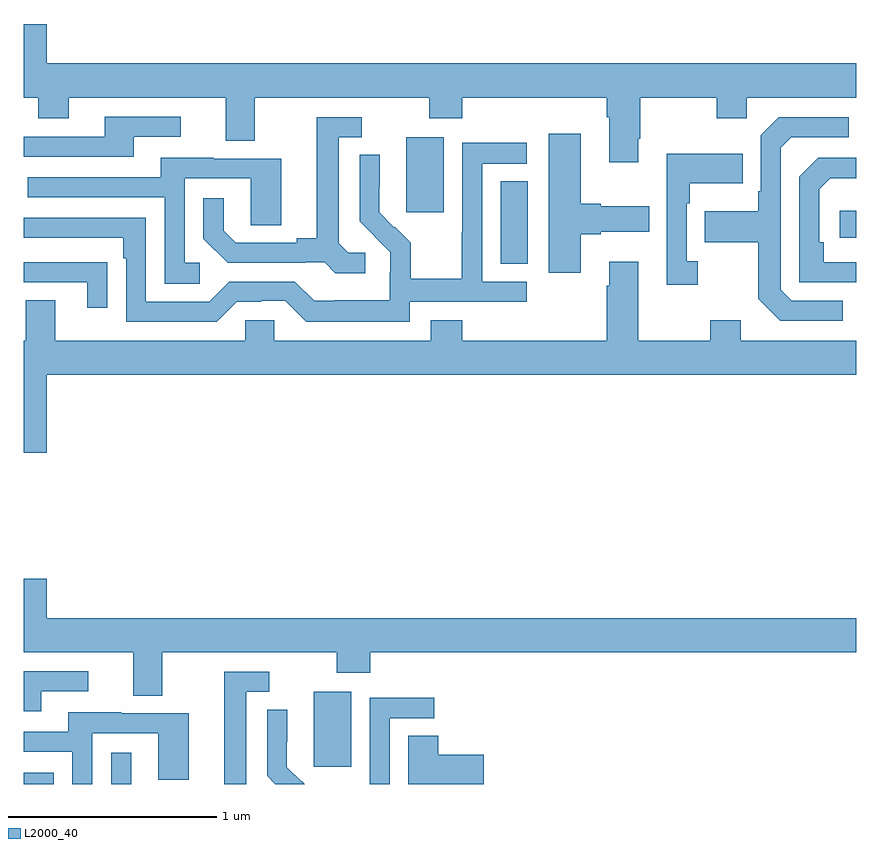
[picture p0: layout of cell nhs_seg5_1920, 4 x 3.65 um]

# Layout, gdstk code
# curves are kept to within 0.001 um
import gdstk
lib = gdstk.Library(unit=1e-6, precision=1e-09)
def R(c, l, rs):  # rectangles x0, y0, x1, y1
    for r in rs: c.add(gdstk.rectangle(r[:2], r[2:], *l))
def P(c, l, *ps):  # polygons
    for p in ps: c.add(gdstk.Polygon(p, *l))
L2000_40 = (2000, 40)

nhs_seg5_1920 = lib.new_cell('nhs_seg5_1920')
R(nhs_seg5_1920, L2000_40, [(225,850.799,225.144,850.854), (225.42,850.799,225.517,850.948), (226.394,850.881,226.573,851.242), (227.291,853.297,227.422,853.694), (228.921,853.422,229,853.552), (226.838,853.545,227.017,853.906)])
P(nhs_seg5_1920, L2000_40, [(227.953,853.897),(227.961,853.897),(227.961,854.096),(228.328,854.096),(228.328,853.997),(228.474,853.997),(228.474,854.096),(229,854.096),(229,854.26),(225.112,854.26),(225.112,854.449),(225,854.449),(225,854.096),(225.07,854.096),(225.07,853.997),(225.217,853.997),(225.217,854.096),(225.971,854.096),(225.971,853.888),(226.111,853.888),(226.111,854.096),(226.948,854.096),(226.948,853.997),(227.108,853.997),(227.108,854.096),(227.801,854.096),(227.801,854),(227.813,854),(227.813,853.785),(227.953,853.785)],
  [(225.529,853.908),(225.754,853.908),(225.754,854.004),(225.389,854.004),(225.389,853.908),(225,853.908),(225,853.812),(225.529,853.812)],
  [(228.934,853.119),(228.69,853.119),(228.636,853.173),(228.636,853.854),(228.687,853.905),(228.964,853.905),(228.964,854.001),(228.627,854.001),(228.54,853.914),(228.54,853.645),(228.528,853.645),(228.528,853.549),(228.271,853.549),(228.271,853.402),(228.528,853.402),(228.528,853.129),(228.633,853.023),(228.934,853.023)],
  [(226.642,853.35),(226.56,853.35),(226.513,853.397),(226.513,853.905),(226.624,853.905),(226.624,854.001),(226.409,854.001),(226.409,853.421),(226.313,853.421),(226.313,853.398),(226.018,853.398),(225.961,853.455),(225.961,853.612),(225.864,853.612),(225.864,853.418),(225.98,853.302),(226.352,853.302),(226.352,853.305),(226.446,853.305),(226.498,853.253),(226.642,853.253)],
  [(227.677,853.439),(227.773,853.439),(227.773,853.451),(228.004,853.451),(228.004,853.573),(227.773,853.573),(227.773,853.586),(227.677,853.586),(227.677,853.921),(227.522,853.921),(227.522,853.254),(227.677,853.254)],
  [(226.854,853.116),(227.416,853.116),(227.416,853.212),(227.202,853.212),(227.202,853.779),(227.416,853.779),(227.416,853.878),(227.106,853.878),(227.106,853.448),(227.104,853.448),(227.104,853.225),(226.859,853.225),(226.859,853.399),(226.782,853.476),(226.779,853.473),(226.709,853.544),(226.71,853.82),(226.614,853.82),(226.614,853.502),(226.76,853.354),(226.76,853.257),(226.758,853.257),(226.758,853.123),(226.495,853.123),(226.495,853.119),(226.395,853.119),(226.302,853.212),(225.987,853.212),(225.891,853.116),(225.588,853.116),(225.588,853.518),(225,853.518),(225,853.422),(225.479,853.422),(225.479,853.325),(225.492,853.325),(225.492,853.02),(225.927,853.02),(226.023,853.116),(226.142,853.116),(226.142,853.119),(226.257,853.119),(226.357,853.019),(226.854,853.019)],
  [(228.238,853.31),(228.186,853.31),(228.186,853.589),(228.199,853.589),(228.199,853.685),(228.455,853.685),(228.455,853.825),(228.09,853.825),(228.09,853.197),(228.238,853.197)],
  [(225.847,853.302),(225.774,853.302),(225.774,853.707),(226.092,853.707),(226.092,853.483),(226.237,853.483),(226.237,853.803),(225.913,853.803),(225.913,853.807),(225.659,853.807),(225.659,853.713),(225.019,853.713),(225.019,853.617),(225.678,853.617),(225.678,853.201),(225.847,853.201)],
  [(229,853.305),(228.842,853.305),(228.842,853.402),(228.822,853.402),(228.822,853.656),(228.875,853.709),(229,853.709),(229,853.806),(228.816,853.806),(228.726,853.716),(228.726,853.209),(229,853.209)],
  [(229,852.928),(228.445,852.928),(228.445,853.027),(228.298,853.027),(228.298,852.928),(227.953,852.928),(227.953,853.306),(227.813,853.306),(227.813,853.193),(227.801,853.193),(227.801,852.928),(227.108,852.928),(227.108,853.027),(226.955,853.027),(226.955,852.928),(226.203,852.928),(226.203,853.026),(226.065,853.026),(226.065,852.928),(225.151,852.928),(225.151,853.123),(225.011,853.123),(225.011,852.928),(225,852.928),(225,852.39),(225.112,852.39),(225.112,852.764),(229,852.764)],
  [(225.401,853.304),(225.299,853.304),(225.299,853.305),(225,853.305),(225,853.209),(225.305,853.209),(225.305,853.086),(225.401,853.086)],
  [(225.667,851.432),(226.504,851.432),(226.504,851.333),(226.664,851.333),(226.664,851.432),(229,851.432),(229,851.596),(225.112,851.596),(225.112,851.785),(225,851.785),(225,851.432),(225.527,851.432),(225.527,851.224),(225.667,851.224)],
  [(225.085,851.244),(225.31,851.244),(225.31,851.34),(225,851.34),(225,851.148),(225.085,851.148)],
  [(226.069,851.241),(226.18,851.241),(226.18,851.337),(225.965,851.337),(225.965,850.799),(226.069,850.799)],
  [(226.758,851.115),(226.972,851.115),(226.972,851.214),(226.662,851.214),(226.662,850.799),(226.758,850.799)],
  [(226.338,850.812),(226.335,850.809),(226.265,850.88),(226.265,851.002),(226.266,851.002),(226.266,851.156),(226.17,851.156),(226.17,850.838),(226.209,850.799),(226.351,850.799)],
  [(225.33,851.043),(225.648,851.043),(225.648,850.819),(225.793,850.819),(225.793,851.139),(225.469,851.139),(225.469,851.143),(225.215,851.143),(225.215,851.049),(225,851.049),(225,850.953),(225.234,850.953),(225.234,850.799),(225.33,850.799)],
  [(227.209,850.94),(226.991,850.94),(226.991,851.03),(226.847,851.03),(226.847,850.799),(227.209,850.799)])

lib.write_gds('nhs_seg5_1920.gds')
